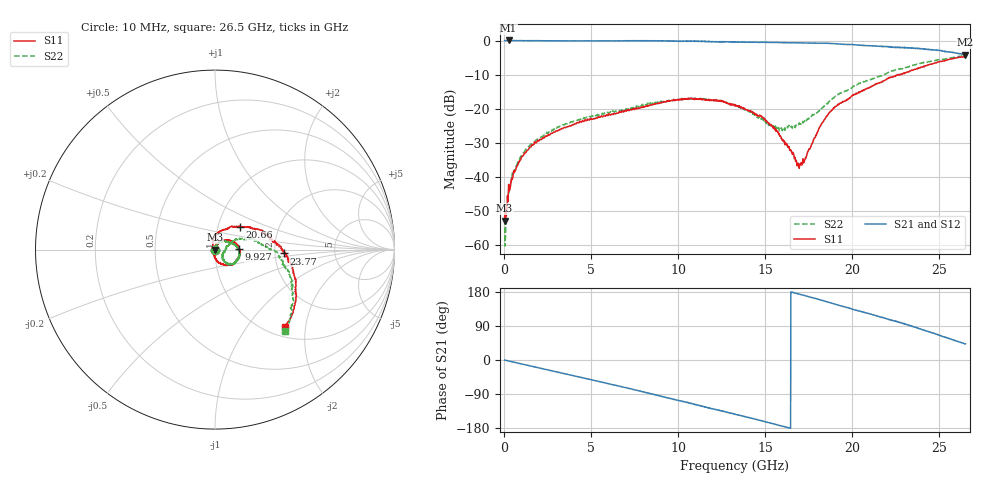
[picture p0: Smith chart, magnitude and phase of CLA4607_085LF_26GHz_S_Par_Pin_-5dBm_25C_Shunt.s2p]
!Agilent Technologies,N5242A,MY49421564,A.09.80.20
!Agilent N5242A: A.09.80.20
!Date: Tuesday, November 08, 2016 23:47:56
!Correction: S33(Full 2 Port(3,4))
!S43(Full 2 Port(3,4))
!S34(Full 2 Port(3,4))
!S44(Full 2 Port(3,4))
!S2P File: Measurements: S33, S43, S34, S44:
# Hz S  dB  R 50
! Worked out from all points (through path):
!   1601 points, 10 MHz to 26.5 GHz, reference 50 ohm
!   highest |S21| = 0.05 dB at 241.8 MHz (marker M1); lowest = -4.2 dB at 26.48 GHz (marker M2)
!   group delay of S21, straight-line fit = 32.7 ps
!   lowest |S11| = -52.9 dB at 10 MHz (marker M3), VSWR 1.00, Z = 49.8 - j0.109 ohm
!   |S11| at or under -10 dB: start of sweep to 22.62 GHz; 22.6467 GHz to 22.68226 GHz (35.56 MHz wide, 0.157 % of centre); 22.70005 GHz to 22.74441 GHz (44.36 MHz wide, 0.195 % of centre)
!   |S22| runs from -60.4 to -4.5 dB; largest |S21 - S12| = 0.027
!   S11 on the Smith chart (normalised r, x): 10 MHz: 1.00, -0.00; 9.927 GHz: 1.31, +0.01; 20.66 GHz: 1.27, +0.33; 23.77 GHz: 2.25, -0.11; 26.5 GHz: 1.20, -1.54
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1e7  -52.88 -151.3  0.01 0.0  0.01 -0.1  -52.53 -101.4
1.590062e8  -49.08 107.9  0.01 -1.7  0.00 -1.7  -48.70 102.4
2.417875e8  -42.28 132.6  0.05 -2.6  -0.01 -2.6  -45.04 86.3
5.729125e8  -38.72 88.4  0.00 -6.1  -0.01 -6.1  -38.14 84.0
1.317944e9  -32.25 73.2  -0.02 -13.9  -0.04 -13.9  -31.68 68.3
2.990125e9  -26.52 58.3  -0.05 -31.3  -0.08 -31.3  -25.80 52.8
4.430519e9  -23.96 48.0  -0.07 -46.3  -0.07 -46.4  -22.70 41.3
7.013294e9  -20.75 33.1  -0.07 -73.4  -0.08 -73.4  -20.08 20.8
8.851038e9  -18.53 17.1  -0.10 -93.6  -0.10 -93.5  -18.09 5.6
9.927194e9  -17.36 1.8  -0.19 -105.7  -0.15 -105.5  -17.43 -5.2
1.3255e10  -19.03 -50.8  -0.45 -143.6  -0.33 -142.9  -18.99 -48.5
1.494374e10  -22.83 -77.1  -0.46 -162.3  -0.38 -161.7  -23.31 -49.1
1.577155e10  -27.55 -92.1  -0.57 -172.1  -0.49 -172.3  -25.74 -27.0
1.693049e10  -37.27 -171.0  -0.68 173.8  -0.62 173.9  -24.38 4.3
1.72285e10  -35.51 142.1  -0.69 170.3  -0.64 170.1  -23.84 8.1
1.767552e10  -30.31 114.6  -0.73 164.8  -0.69 164.6  -22.02 16.3
1.878479e10  -20.68 80.8  -0.86 150.2  -0.85 149.7  -17.34 24.3
2.065564e10  -14.64 42.1  -1.50 126.1  -1.46 125.9  -12.09 8.0
2.209604e10  -10.87 21.7  -1.78 106.5  -1.75 106.6  -9.19 -2.4
2.376822e10  -8.28 -3.1  -2.32 84.8  -2.47 84.0  -6.93 -21.2
2.648344e10  -4.79 -47.4  -4.15 42.8  -4.24 42.6  -4.53 -49.5
2.65e10  -4.73 -47.6  -4.08 42.7  -4.23 42.6  -4.48 -49.5
